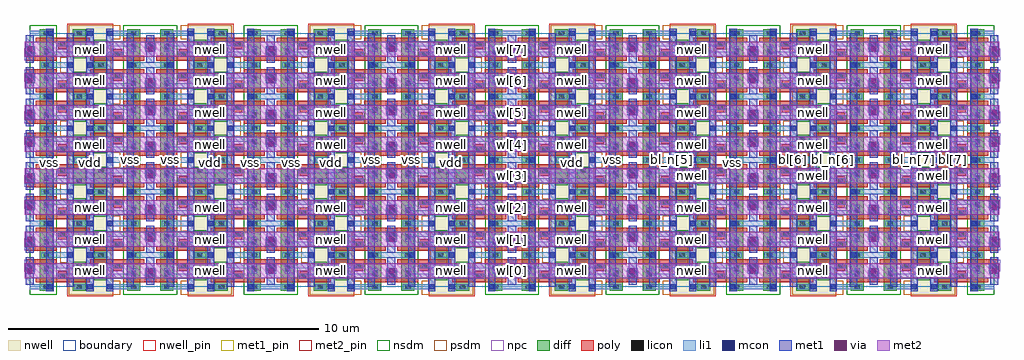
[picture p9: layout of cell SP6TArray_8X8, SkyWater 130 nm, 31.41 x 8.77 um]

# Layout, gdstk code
from math import pi, radians
import gdstk
lib = gdstk.Library(unit=1e-6, precision=1e-09)
def R(c, l, rs):  # rectangles x0, y0, x1, y1
    for r in rs: c.add(gdstk.rectangle(r[:2], r[2:], *l))
def A(c, l, x, y, w, h, nx, ny, dx, dy):  # array of equal rectangles
    R(c, l, [(x+i*dx, y+j*dy, x+i*dx+w, y+j*dy+h) for i in range(nx) for j in range(ny)])
def P(c, l, *ps):  # polygons
    for p in ps: c.add(gdstk.Polygon(p, *l))
nwell_pin = (64, 16)
nwell = (64, 20)
diff = (65, 20)
poly = (66, 20)
licon = (66, 44)
li1 = (67, 20)
mcon = (67, 44)
met1_pin = (68, 16)
met1 = (68, 20)
via = (68, 44)
met2_pin = (69, 16)
met2 = (69, 20)
nsdm = (93, 44)
psdm = (94, 20)
npc = (95, 20)
boundary = (235, 4)

sp6tcell = lib.new_cell('SP6TCell')
R(sp6tcell, nwell_pin, [(1.2,-0.305,2.68,1.325)])
R(sp6tcell, nwell, [(1.2,-0.305,2.68,1.325)])
R(sp6tcell, diff, [(0.32,-0.125,0.74,1.145), (2.08,-0.125,2.5,0.805), (3.14,-0.125,3.56,1.145), (1.38,0.215,1.8,1.145)])
P(sp6tcell, poly, [(3.745,0.515),(3.745,0.73),(3.01,0.73),(3.01,0.88),(4.015,0.88),(4.015,0.515)],
  [(1.95,0.14),(1.95,0.29),(2.685,0.29),(2.685,0.505),(2.955,0.505),(2.955,0.29),(3.69,0.29),(3.69,0.14)],
  [(0.925,0.515),(0.925,0.73),(0.19,0.73),(0.19,0.88),(1.93,0.88),(1.93,0.73),(1.195,0.73),(1.195,0.515)],
  [(-0.135,0.14),(-0.135,0.505),(0.135,0.505),(0.135,0.29),(0.87,0.29),(0.87,0.14)])
R(sp6tcell, licon, [(0.445,-0.085,0.615,0.085), (2.205,-0.085,2.375,0.085), (3.265,-0.085,3.435,0.085), (-0.085,0.255,0.085,0.425), (1.505,0.255,1.675,0.425), (2.735,0.255,2.905,0.425), (0.445,0.345,0.615,0.515), (3.265,0.505,3.435,0.675), (0.975,0.595,1.145,0.765), (2.205,0.595,2.375,0.765), (3.795,0.595,3.965,0.765), (0.445,0.935,0.615,1.105), (1.505,0.935,1.675,1.105), (3.265,0.935,3.435,1.105)])
R(sp6tcell, li1, [(0.365,-0.085,1.385,0.085), (1.855,-0.085,2.455,0.085), (3.145,-0.085,3.88,0.085), (-0.165,0.255,0.165,0.595), (3.715,0.425,4.045,0.765), (0,0.935,0.735,1.105), (1.425,0.935,2.025,1.105), (2.495,0.935,3.515,1.105)])
P(sp6tcell, li1, [(3.265,0.425),(3.265,0.595),(0.895,0.595),(0.895,0.765),(3.435,0.765),(3.435,0.425)],
  [(0.445,0.255),(0.445,0.595),(0.615,0.595),(0.615,0.425),(2.985,0.425),(2.985,0.255)])
R(sp6tcell, mcon, [(1.215,-0.085,1.385,0.085), (1.855,-0.085,2.025,0.085), (3.145,-0.085,3.315,0.085), (-0.085,0.425,0.085,0.595), (3.795,0.425,3.965,0.595), (0.565,0.935,0.735,1.105), (1.855,0.935,2.025,1.105), (2.495,0.935,2.665,1.105)])
R(sp6tcell, met1_pin, [(1.185,-0.145,1.415,1.02), (1.825,-0.145,2.055,1.165), (3.115,-0.145,3.345,1.02), (0.535,0,0.765,1.165), (2.465,0,2.695,1.165)])
R(sp6tcell, met1, [(1.185,-0.145,1.415,1.02), (1.825,-0.145,2.055,1.165), (3.115,-0.145,3.345,1.02), (0.535,0,0.765,1.165), (2.465,0,2.695,1.165), (-0.13,0.07,0.13,0.95), (3.75,0.07,4.01,0.95)])
R(sp6tcell, via, [(-0.075,0.435,0.075,0.585), (3.805,0.435,3.955,0.585)])
R(sp6tcell, met2_pin, [(-0.16,0.27,4.04,0.75)])
R(sp6tcell, met2, [(-0.16,0.27,4.04,0.75)])
R(sp6tcell, nsdm, [(0,-0.25,0.865,1.27), (3.015,-0.25,3.88,1.27)])
P(sp6tcell, psdm, [(0.975,-0.25),(0.975,0.195),(1.255,0.195),(1.255,1.27),(2.905,1.27),(2.905,0.825),(2.625,0.825),(2.625,-0.25)])
R(sp6tcell, npc, [(-0.185,0.155,0.185,0.525), (2.635,0.155,3.005,0.525), (0.875,0.495,1.245,0.865), (3.695,0.495,4.065,0.865)])
R(sp6tcell, boundary, [(0,0,3.88,1.02)])
sp6tcell.add(gdstk.Label('wl', (1.94,0.51), layer=69, texttype=16))
sp6tcell.add(gdstk.Label('bl_n', (2.58,0.583), layer=68, texttype=16))
sp6tcell.add(gdstk.Label('vdd', (1.94,0.51), layer=68, texttype=16))
sp6tcell.add(gdstk.Label('vss', (3.23,0.438), layer=68, texttype=16))
sp6tcell.add(gdstk.Label('vss', (0.65,0.583), layer=68, texttype=16))
sp6tcell.add(gdstk.Label('bl', (1.3,0.438), layer=68, texttype=16))
sp6tcell.add(gdstk.Label('nwell', (1.94,0.51), layer=64, texttype=16))

sp6tarray_2x1 = lib.new_cell('SP6TArray_2X1')
R(sp6tarray_2x1, nwell_pin, [(1.2,-0.305,2.68,2.345)])
R(sp6tarray_2x1, nwell, [(1.2,-0.305,2.68,2.345)])
R(sp6tarray_2x1, met1_pin, [(0.535,-0.145,0.765,2.04), (1.825,-0.145,2.055,2.04), (2.465,-0.145,2.695,2.185), (1.185,0,1.415,2.04), (3.115,0,3.345,2.04)])
R(sp6tarray_2x1, met1, [(0.535,-0.145,0.765,2.04), (1.825,-0.145,2.055,2.04), (2.465,-0.145,2.695,2.185), (1.185,0,1.415,2.04), (3.115,0,3.345,2.04)])
R(sp6tarray_2x1, met2_pin, [(-0.16,0.27,4.04,0.75), (-0.16,1.29,4.04,1.77)])
R(sp6tarray_2x1, met2, [(-0.16,0.27,4.04,0.75), (-0.16,1.29,4.04,1.77)])
R(sp6tarray_2x1, boundary, [(0,0,3.88,2.04)])
sp6tarray_2x1.add(gdstk.Reference(sp6tcell, (0,1.02)))
sp6tarray_2x1.add(gdstk.Reference(sp6tcell, (0,1.02), x_reflection=True))
sp6tarray_2x1.add(gdstk.Label('wl[1]', (1.94,1.53), layer=69, texttype=16))
sp6tarray_2x1.add(gdstk.Label('wl[0]', (1.94,0.51), layer=69, texttype=16))
sp6tarray_2x1.add(gdstk.Label('bl_n[0]', (2.58,1.02), layer=68, texttype=16))
sp6tarray_2x1.add(gdstk.Label('bl[0]', (1.3,1.02), layer=68, texttype=16))
sp6tarray_2x1.add(gdstk.Label('vdd', (1.94,0.948), layer=68, texttype=16))
sp6tarray_2x1.add(gdstk.Label('vss', (0.65,0.948), layer=68, texttype=16))
sp6tarray_2x1.add(gdstk.Label('vss', (3.23,1.02), layer=68, texttype=16))
sp6tarray_2x1.add(gdstk.Label('nwell', (1.94,0.51), layer=64, texttype=16))
sp6tarray_2x1.add(gdstk.Label('nwell', (1.94,1.53), layer=64, texttype=16))

sp6tarray_2x2 = lib.new_cell('SP6TArray_2X2')
R(sp6tarray_2x2, nwell_pin, [(1.2,-0.305,2.68,2.345), (5.08,-0.305,6.56,2.345)])
R(sp6tarray_2x2, nwell, [(1.2,-0.305,2.68,2.345), (5.08,-0.305,6.56,2.345)])
R(sp6tarray_2x2, met1_pin, [(0.535,-0.145,0.765,2.04), (1.825,-0.145,2.055,2.04), (2.465,-0.145,2.695,2.185), (5.065,-0.145,5.295,2.185), (5.705,-0.145,5.935,2.04), (6.995,-0.145,7.225,2.04), (1.185,0,1.415,2.04), (3.115,0,3.345,2.04), (4.415,0,4.645,2.04), (6.345,0,6.575,2.04)])
R(sp6tarray_2x2, met1, [(0.535,-0.145,0.765,2.04), (1.825,-0.145,2.055,2.04), (2.465,-0.145,2.695,2.185), (5.065,-0.145,5.295,2.185), (5.705,-0.145,5.935,2.04), (6.995,-0.145,7.225,2.04), (1.185,0,1.415,2.04), (3.115,0,3.345,2.04), (4.415,0,4.645,2.04), (6.345,0,6.575,2.04)])
R(sp6tarray_2x2, met2_pin, [(-0.16,0.27,7.92,0.75), (-0.16,1.29,7.92,1.77)])
R(sp6tarray_2x2, met2, [(-0.16,0.27,7.92,0.75), (-0.16,1.29,7.92,1.77)])
R(sp6tarray_2x2, boundary, [(0,0,7.76,2.04)])
sp6tarray_2x2.add(gdstk.Reference(sp6tarray_2x1, (7.76,0), rotation=pi, x_reflection=True))
sp6tarray_2x2.add(gdstk.Reference(sp6tarray_2x1, (0,0)))
sp6tarray_2x2.add(gdstk.Label('wl[1]', (3.88,1.53), layer=69, texttype=16))
sp6tarray_2x2.add(gdstk.Label('wl[0]', (3.88,0.51), layer=69, texttype=16))
sp6tarray_2x2.add(gdstk.Label('bl_n[1]', (5.18,1.02), layer=68, texttype=16))
sp6tarray_2x2.add(gdstk.Label('bl[1]', (6.46,1.02), layer=68, texttype=16))
sp6tarray_2x2.add(gdstk.Label('bl_n[0]', (2.58,1.02), layer=68, texttype=16))
sp6tarray_2x2.add(gdstk.Label('bl[0]', (1.3,1.02), layer=68, texttype=16))
sp6tarray_2x2.add(gdstk.Label('vdd', (1.94,0.948), layer=68, texttype=16))
sp6tarray_2x2.add(gdstk.Label('vdd', (5.82,0.948), layer=68, texttype=16))
sp6tarray_2x2.add(gdstk.Label('vss', (0.65,0.948), layer=68, texttype=16))
sp6tarray_2x2.add(gdstk.Label('vss', (7.11,0.948), layer=68, texttype=16))
sp6tarray_2x2.add(gdstk.Label('vss', (3.23,1.02), layer=68, texttype=16))
sp6tarray_2x2.add(gdstk.Label('vss', (4.53,1.02), layer=68, texttype=16))
sp6tarray_2x2.add(gdstk.Label('nwell', (1.94,0.51), layer=64, texttype=16))
sp6tarray_2x2.add(gdstk.Label('nwell', (5.82,0.51), layer=64, texttype=16))
sp6tarray_2x2.add(gdstk.Label('nwell', (1.94,1.53), layer=64, texttype=16))
sp6tarray_2x2.add(gdstk.Label('nwell', (5.82,1.53), layer=64, texttype=16))

sp6tarray_4x2 = lib.new_cell('SP6TArray_4X2')
R(sp6tarray_4x2, nwell_pin, [(1.2,-0.305,2.68,4.385), (5.08,-0.305,6.56,4.385)])
R(sp6tarray_4x2, nwell, [(1.2,-0.305,2.68,4.385), (5.08,-0.305,6.56,4.385)])
R(sp6tarray_4x2, met1_pin, [(0.535,-0.145,0.765,4.08), (1.825,-0.145,2.055,4.08), (2.465,-0.145,2.695,4.225), (5.065,-0.145,5.295,4.225), (5.705,-0.145,5.935,4.08), (6.995,-0.145,7.225,4.08), (1.185,0,1.415,4.08), (3.115,0,3.345,4.08), (4.415,0,4.645,4.08), (6.345,0,6.575,4.08)])
R(sp6tarray_4x2, met1, [(0.535,-0.145,0.765,4.08), (1.825,-0.145,2.055,4.08), (2.465,-0.145,2.695,4.225), (5.065,-0.145,5.295,4.225), (5.705,-0.145,5.935,4.08), (6.995,-0.145,7.225,4.08), (1.185,0,1.415,4.08), (3.115,0,3.345,4.08), (4.415,0,4.645,4.08), (6.345,0,6.575,4.08)])
A(sp6tarray_4x2, met2_pin, -0.16, 0.27, 8.08, 0.48, 1, 4, 0, 1.02)
A(sp6tarray_4x2, met2, -0.16, 0.27, 8.08, 0.48, 1, 4, 0, 1.02)
R(sp6tarray_4x2, boundary, [(0,0,7.76,4.08)])
sp6tarray_4x2.add(gdstk.Reference(sp6tarray_2x2, (0,0)))
sp6tarray_4x2.add(gdstk.Reference(sp6tarray_2x2, (0,2.04)))
sp6tarray_4x2.add(gdstk.Label('wl[3]', (3.88,3.57), layer=69, texttype=16))
sp6tarray_4x2.add(gdstk.Label('wl[2]', (3.88,2.55), layer=69, texttype=16))
sp6tarray_4x2.add(gdstk.Label('wl[1]', (3.88,1.53), layer=69, texttype=16))
sp6tarray_4x2.add(gdstk.Label('wl[0]', (3.88,0.51), layer=69, texttype=16))
sp6tarray_4x2.add(gdstk.Label('bl_n[1]', (5.18,2.04), layer=68, texttype=16))
sp6tarray_4x2.add(gdstk.Label('bl[1]', (6.46,2.04), layer=68, texttype=16))
sp6tarray_4x2.add(gdstk.Label('bl_n[0]', (2.58,2.04), layer=68, texttype=16))
sp6tarray_4x2.add(gdstk.Label('bl[0]', (1.3,2.04), layer=68, texttype=16))
sp6tarray_4x2.add(gdstk.Label('vdd', (1.94,1.968), layer=68, texttype=16))
sp6tarray_4x2.add(gdstk.Label('vdd', (1.94,1.968), layer=68, texttype=16))
sp6tarray_4x2.add(gdstk.Label('vdd', (5.82,1.968), layer=68, texttype=16))
sp6tarray_4x2.add(gdstk.Label('vdd', (5.82,1.968), layer=68, texttype=16))
sp6tarray_4x2.add(gdstk.Label('vss', (0.65,1.968), layer=68, texttype=16))
sp6tarray_4x2.add(gdstk.Label('vss', (0.65,1.968), layer=68, texttype=16))
sp6tarray_4x2.add(gdstk.Label('vss', (7.11,1.968), layer=68, texttype=16))
sp6tarray_4x2.add(gdstk.Label('vss', (7.11,1.968), layer=68, texttype=16))
sp6tarray_4x2.add(gdstk.Label('vss', (3.23,2.04), layer=68, texttype=16))
sp6tarray_4x2.add(gdstk.Label('vss', (4.53,2.04), layer=68, texttype=16))
sp6tarray_4x2.add(gdstk.Label('nwell', (1.94,0.51), layer=64, texttype=16))
sp6tarray_4x2.add(gdstk.Label('nwell', (5.82,0.51), layer=64, texttype=16))
sp6tarray_4x2.add(gdstk.Label('nwell', (1.94,1.53), layer=64, texttype=16))
sp6tarray_4x2.add(gdstk.Label('nwell', (5.82,1.53), layer=64, texttype=16))
sp6tarray_4x2.add(gdstk.Label('nwell', (1.94,2.55), layer=64, texttype=16))
sp6tarray_4x2.add(gdstk.Label('nwell', (5.82,2.55), layer=64, texttype=16))
sp6tarray_4x2.add(gdstk.Label('nwell', (1.94,3.57), layer=64, texttype=16))
sp6tarray_4x2.add(gdstk.Label('nwell', (5.82,3.57), layer=64, texttype=16))

sp6tarray_4x4 = lib.new_cell('SP6TArray_4X4')
A(sp6tarray_4x4, nwell_pin, 1.2, -0.305, 1.48, 4.69, 4, 1, 3.88, 0)
A(sp6tarray_4x4, nwell, 1.2, -0.305, 1.48, 4.69, 4, 1, 3.88, 0)
R(sp6tarray_4x4, met1_pin, [(0.535,-0.145,0.765,4.08), (1.825,-0.145,2.055,4.08), (2.465,-0.145,2.695,4.225), (5.065,-0.145,5.295,4.225), (5.705,-0.145,5.935,4.08), (6.995,-0.145,7.225,4.08), (8.295,-0.145,8.525,4.08), (9.585,-0.145,9.815,4.08), (10.225,-0.145,10.455,4.225), (12.825,-0.145,13.055,4.225), (13.465,-0.145,13.695,4.08), (14.755,-0.145,14.985,4.08), (1.185,0,1.415,4.08), (3.115,0,3.345,4.08), (4.415,0,4.645,4.08), (6.345,0,6.575,4.08), (8.945,0,9.175,4.08), (10.875,0,11.105,4.08), (12.175,0,12.405,4.08), (14.105,0,14.335,4.08)])
R(sp6tarray_4x4, met1, [(0.535,-0.145,0.765,4.08), (1.825,-0.145,2.055,4.08), (2.465,-0.145,2.695,4.225), (5.065,-0.145,5.295,4.225), (5.705,-0.145,5.935,4.08), (6.995,-0.145,7.225,4.08), (8.295,-0.145,8.525,4.08), (9.585,-0.145,9.815,4.08), (10.225,-0.145,10.455,4.225), (12.825,-0.145,13.055,4.225), (13.465,-0.145,13.695,4.08), (14.755,-0.145,14.985,4.08), (1.185,0,1.415,4.08), (3.115,0,3.345,4.08), (4.415,0,4.645,4.08), (6.345,0,6.575,4.08), (8.945,0,9.175,4.08), (10.875,0,11.105,4.08), (12.175,0,12.405,4.08), (14.105,0,14.335,4.08)])
A(sp6tarray_4x4, met2_pin, -0.16, 0.27, 15.84, 0.48, 1, 4, 0, 1.02)
A(sp6tarray_4x4, met2, -0.16, 0.27, 15.84, 0.48, 1, 4, 0, 1.02)
R(sp6tarray_4x4, boundary, [(0,0,15.52,4.08)])
sp6tarray_4x4.add(gdstk.Reference(sp6tarray_4x2, (0,0)))
sp6tarray_4x4.add(gdstk.Reference(sp6tarray_4x2, (7.76,0)))
sp6tarray_4x4.add(gdstk.Label('wl[3]', (7.76,3.57), layer=69, texttype=16))
sp6tarray_4x4.add(gdstk.Label('wl[2]', (7.76,2.55), layer=69, texttype=16))
sp6tarray_4x4.add(gdstk.Label('wl[1]', (7.76,1.53), layer=69, texttype=16))
sp6tarray_4x4.add(gdstk.Label('wl[0]', (7.76,0.51), layer=69, texttype=16))
sp6tarray_4x4.add(gdstk.Label('bl_n[3]', (12.94,2.04), layer=68, texttype=16))
sp6tarray_4x4.add(gdstk.Label('bl[3]', (14.22,2.04), layer=68, texttype=16))
sp6tarray_4x4.add(gdstk.Label('bl_n[2]', (10.34,2.04), layer=68, texttype=16))
sp6tarray_4x4.add(gdstk.Label('bl[2]', (9.06,2.04), layer=68, texttype=16))
sp6tarray_4x4.add(gdstk.Label('bl_n[1]', (5.18,2.04), layer=68, texttype=16))
sp6tarray_4x4.add(gdstk.Label('bl[1]', (6.46,2.04), layer=68, texttype=16))
sp6tarray_4x4.add(gdstk.Label('bl_n[0]', (2.58,2.04), layer=68, texttype=16))
sp6tarray_4x4.add(gdstk.Label('bl[0]', (1.3,2.04), layer=68, texttype=16))
sp6tarray_4x4.add(gdstk.Label('vdd', (1.94,1.968), layer=68, texttype=16))
sp6tarray_4x4.add(gdstk.Label('vdd', (5.82,1.968), layer=68, texttype=16))
sp6tarray_4x4.add(gdstk.Label('vdd', (9.7,1.968), layer=68, texttype=16))
sp6tarray_4x4.add(gdstk.Label('vdd', (13.58,1.968), layer=68, texttype=16))
sp6tarray_4x4.add(gdstk.Label('vss', (0.65,1.968), layer=68, texttype=16))
sp6tarray_4x4.add(gdstk.Label('vss', (7.11,1.968), layer=68, texttype=16))
sp6tarray_4x4.add(gdstk.Label('vss', (8.41,1.968), layer=68, texttype=16))
sp6tarray_4x4.add(gdstk.Label('vss', (14.87,1.968), layer=68, texttype=16))
sp6tarray_4x4.add(gdstk.Label('vss', (3.23,2.04), layer=68, texttype=16))
sp6tarray_4x4.add(gdstk.Label('vss', (4.53,2.04), layer=68, texttype=16))
sp6tarray_4x4.add(gdstk.Label('vss', (10.99,2.04), layer=68, texttype=16))
sp6tarray_4x4.add(gdstk.Label('vss', (12.29,2.04), layer=68, texttype=16))
sp6tarray_4x4.add(gdstk.Label('nwell', (1.94,0.51), layer=64, texttype=16))
sp6tarray_4x4.add(gdstk.Label('nwell', (5.82,0.51), layer=64, texttype=16))
sp6tarray_4x4.add(gdstk.Label('nwell', (9.7,0.51), layer=64, texttype=16))
sp6tarray_4x4.add(gdstk.Label('nwell', (13.58,0.51), layer=64, texttype=16))
sp6tarray_4x4.add(gdstk.Label('nwell', (1.94,1.53), layer=64, texttype=16))
sp6tarray_4x4.add(gdstk.Label('nwell', (5.82,1.53), layer=64, texttype=16))
sp6tarray_4x4.add(gdstk.Label('nwell', (9.7,1.53), layer=64, texttype=16))
sp6tarray_4x4.add(gdstk.Label('nwell', (13.58,1.53), layer=64, texttype=16))
sp6tarray_4x4.add(gdstk.Label('nwell', (1.94,2.55), layer=64, texttype=16))
sp6tarray_4x4.add(gdstk.Label('nwell', (5.82,2.55), layer=64, texttype=16))
sp6tarray_4x4.add(gdstk.Label('nwell', (9.7,2.55), layer=64, texttype=16))
sp6tarray_4x4.add(gdstk.Label('nwell', (13.58,2.55), layer=64, texttype=16))
sp6tarray_4x4.add(gdstk.Label('nwell', (1.94,3.57), layer=64, texttype=16))
sp6tarray_4x4.add(gdstk.Label('nwell', (5.82,3.57), layer=64, texttype=16))
sp6tarray_4x4.add(gdstk.Label('nwell', (9.7,3.57), layer=64, texttype=16))
sp6tarray_4x4.add(gdstk.Label('nwell', (13.58,3.57), layer=64, texttype=16))

sp6tarray_8x4 = lib.new_cell('SP6TArray_8X4')
A(sp6tarray_8x4, nwell_pin, 1.2, -0.305, 1.48, 8.77, 4, 1, 3.88, 0)
A(sp6tarray_8x4, nwell, 1.2, -0.305, 1.48, 8.77, 4, 1, 3.88, 0)
R(sp6tarray_8x4, met1_pin, [(0.535,-0.145,0.765,8.16), (1.825,-0.145,2.055,8.16), (2.465,-0.145,2.695,8.305), (5.065,-0.145,5.295,8.305), (5.705,-0.145,5.935,8.16), (6.995,-0.145,7.225,8.16), (8.295,-0.145,8.525,8.16), (9.585,-0.145,9.815,8.16), (10.225,-0.145,10.455,8.305), (12.825,-0.145,13.055,8.305), (13.465,-0.145,13.695,8.16), (14.755,-0.145,14.985,8.16), (1.185,0,1.415,8.16), (3.115,0,3.345,8.16), (4.415,0,4.645,8.16), (6.345,0,6.575,8.16), (8.945,0,9.175,8.16), (10.875,0,11.105,8.16), (12.175,0,12.405,8.16), (14.105,0,14.335,8.16)])
R(sp6tarray_8x4, met1, [(0.535,-0.145,0.765,8.16), (1.825,-0.145,2.055,8.16), (2.465,-0.145,2.695,8.305), (5.065,-0.145,5.295,8.305), (5.705,-0.145,5.935,8.16), (6.995,-0.145,7.225,8.16), (8.295,-0.145,8.525,8.16), (9.585,-0.145,9.815,8.16), (10.225,-0.145,10.455,8.305), (12.825,-0.145,13.055,8.305), (13.465,-0.145,13.695,8.16), (14.755,-0.145,14.985,8.16), (1.185,0,1.415,8.16), (3.115,0,3.345,8.16), (4.415,0,4.645,8.16), (6.345,0,6.575,8.16), (8.945,0,9.175,8.16), (10.875,0,11.105,8.16), (12.175,0,12.405,8.16), (14.105,0,14.335,8.16)])
A(sp6tarray_8x4, met2_pin, -0.16, 0.27, 15.84, 0.48, 1, 8, 0, 1.02)
A(sp6tarray_8x4, met2, -0.16, 0.27, 15.84, 0.48, 1, 8, 0, 1.02)
R(sp6tarray_8x4, boundary, [(0,0,15.52,8.16)])
sp6tarray_8x4.add(gdstk.Reference(sp6tarray_4x4, (0,0)))
sp6tarray_8x4.add(gdstk.Reference(sp6tarray_4x4, (0,4.08)))
sp6tarray_8x4.add(gdstk.Label('wl[5]', (7.76,5.61), layer=69, texttype=16))
sp6tarray_8x4.add(gdstk.Label('wl[4]', (7.76,4.59), layer=69, texttype=16))
sp6tarray_8x4.add(gdstk.Label('wl[3]', (7.76,3.57), layer=69, texttype=16))
sp6tarray_8x4.add(gdstk.Label('wl[6]', (7.76,6.63), layer=69, texttype=16))
sp6tarray_8x4.add(gdstk.Label('wl[2]', (7.76,2.55), layer=69, texttype=16))
sp6tarray_8x4.add(gdstk.Label('wl[7]', (7.76,7.65), layer=69, texttype=16))
sp6tarray_8x4.add(gdstk.Label('wl[1]', (7.76,1.53), layer=69, texttype=16))
sp6tarray_8x4.add(gdstk.Label('wl[0]', (7.76,0.51), layer=69, texttype=16))
sp6tarray_8x4.add(gdstk.Label('bl_n[3]', (12.94,4.08), layer=68, texttype=16))
sp6tarray_8x4.add(gdstk.Label('bl[3]', (14.22,4.08), layer=68, texttype=16))
sp6tarray_8x4.add(gdstk.Label('bl_n[2]', (10.34,4.08), layer=68, texttype=16))
sp6tarray_8x4.add(gdstk.Label('bl[2]', (9.06,4.08), layer=68, texttype=16))
sp6tarray_8x4.add(gdstk.Label('bl_n[1]', (5.18,4.08), layer=68, texttype=16))
sp6tarray_8x4.add(gdstk.Label('bl[1]', (6.46,4.08), layer=68, texttype=16))
sp6tarray_8x4.add(gdstk.Label('bl_n[0]', (2.58,4.08), layer=68, texttype=16))
sp6tarray_8x4.add(gdstk.Label('bl[0]', (1.3,4.08), layer=68, texttype=16))
sp6tarray_8x4.add(gdstk.Label('vdd', (1.94,4.008), layer=68, texttype=16))
sp6tarray_8x4.add(gdstk.Label('vdd', (5.82,4.008), layer=68, texttype=16))
sp6tarray_8x4.add(gdstk.Label('vdd', (9.7,4.008), layer=68, texttype=16))
sp6tarray_8x4.add(gdstk.Label('vdd', (13.58,4.008), layer=68, texttype=16))
sp6tarray_8x4.add(gdstk.Label('vss', (0.65,4.008), layer=68, texttype=16))
sp6tarray_8x4.add(gdstk.Label('vss', (7.11,4.008), layer=68, texttype=16))
sp6tarray_8x4.add(gdstk.Label('vss', (8.41,4.008), layer=68, texttype=16))
sp6tarray_8x4.add(gdstk.Label('vss', (14.87,4.008), layer=68, texttype=16))
sp6tarray_8x4.add(gdstk.Label('vss', (3.23,4.08), layer=68, texttype=16))
sp6tarray_8x4.add(gdstk.Label('vss', (4.53,4.08), layer=68, texttype=16))
sp6tarray_8x4.add(gdstk.Label('vss', (10.99,4.08), layer=68, texttype=16))
sp6tarray_8x4.add(gdstk.Label('vss', (12.29,4.08), layer=68, texttype=16))
sp6tarray_8x4.add(gdstk.Label('nwell', (1.94,0.51), layer=64, texttype=16))
sp6tarray_8x4.add(gdstk.Label('nwell', (5.82,0.51), layer=64, texttype=16))
sp6tarray_8x4.add(gdstk.Label('nwell', (9.7,0.51), layer=64, texttype=16))
sp6tarray_8x4.add(gdstk.Label('nwell', (13.58,0.51), layer=64, texttype=16))
sp6tarray_8x4.add(gdstk.Label('nwell', (1.94,1.53), layer=64, texttype=16))
sp6tarray_8x4.add(gdstk.Label('nwell', (5.82,1.53), layer=64, texttype=16))
sp6tarray_8x4.add(gdstk.Label('nwell', (9.7,1.53), layer=64, texttype=16))
sp6tarray_8x4.add(gdstk.Label('nwell', (13.58,1.53), layer=64, texttype=16))
sp6tarray_8x4.add(gdstk.Label('nwell', (1.94,2.55), layer=64, texttype=16))
sp6tarray_8x4.add(gdstk.Label('nwell', (5.82,2.55), layer=64, texttype=16))
sp6tarray_8x4.add(gdstk.Label('nwell', (9.7,2.55), layer=64, texttype=16))
sp6tarray_8x4.add(gdstk.Label('nwell', (13.58,2.55), layer=64, texttype=16))
sp6tarray_8x4.add(gdstk.Label('nwell', (1.94,3.57), layer=64, texttype=16))
sp6tarray_8x4.add(gdstk.Label('nwell', (5.82,3.57), layer=64, texttype=16))
sp6tarray_8x4.add(gdstk.Label('nwell', (9.7,3.57), layer=64, texttype=16))
sp6tarray_8x4.add(gdstk.Label('nwell', (13.58,3.57), layer=64, texttype=16))
sp6tarray_8x4.add(gdstk.Label('nwell', (1.94,4.59), layer=64, texttype=16))
sp6tarray_8x4.add(gdstk.Label('nwell', (5.82,4.59), layer=64, texttype=16))
sp6tarray_8x4.add(gdstk.Label('nwell', (9.7,4.59), layer=64, texttype=16))
sp6tarray_8x4.add(gdstk.Label('nwell', (13.58,4.59), layer=64, texttype=16))
sp6tarray_8x4.add(gdstk.Label('nwell', (1.94,5.61), layer=64, texttype=16))
sp6tarray_8x4.add(gdstk.Label('nwell', (5.82,5.61), layer=64, texttype=16))
sp6tarray_8x4.add(gdstk.Label('nwell', (9.7,5.61), layer=64, texttype=16))
sp6tarray_8x4.add(gdstk.Label('nwell', (13.58,5.61), layer=64, texttype=16))
sp6tarray_8x4.add(gdstk.Label('nwell', (1.94,6.63), layer=64, texttype=16))
sp6tarray_8x4.add(gdstk.Label('nwell', (5.82,6.63), layer=64, texttype=16))
sp6tarray_8x4.add(gdstk.Label('nwell', (9.7,6.63), layer=64, texttype=16))
sp6tarray_8x4.add(gdstk.Label('nwell', (13.58,6.63), layer=64, texttype=16))
sp6tarray_8x4.add(gdstk.Label('nwell', (1.94,7.65), layer=64, texttype=16))
sp6tarray_8x4.add(gdstk.Label('nwell', (5.82,7.65), layer=64, texttype=16))
sp6tarray_8x4.add(gdstk.Label('nwell', (9.7,7.65), layer=64, texttype=16))
sp6tarray_8x4.add(gdstk.Label('nwell', (13.58,7.65), layer=64, texttype=16))

sp6tarray_8x8 = lib.new_cell('SP6TArray_8X8')
A(sp6tarray_8x8, nwell_pin, 1.2, -0.305, 1.48, 8.77, 8, 1, 3.88, 0)
A(sp6tarray_8x8, nwell, 1.2, -0.305, 1.48, 8.77, 8, 1, 3.88, 0)
R(sp6tarray_8x8, met1_pin, [(0.535,-0.145,0.765,8.16), (1.825,-0.145,2.055,8.16), (2.465,-0.145,2.695,8.305), (5.065,-0.145,5.295,8.305), (5.705,-0.145,5.935,8.16), (6.995,-0.145,7.225,8.16), (8.295,-0.145,8.525,8.16), (9.585,-0.145,9.815,8.16), (10.225,-0.145,10.455,8.305), (12.825,-0.145,13.055,8.305), (13.465,-0.145,13.695,8.16), (14.755,-0.145,14.985,8.16), (16.055,-0.145,16.285,8.16), (17.345,-0.145,17.575,8.16), (17.985,-0.145,18.215,8.305), (20.585,-0.145,20.815,8.305), (21.225,-0.145,21.455,8.16), (22.515,-0.145,22.745,8.16), (23.815,-0.145,24.045,8.16), (25.105,-0.145,25.335,8.16), (25.745,-0.145,25.975,8.305), (28.345,-0.145,28.575,8.305), (28.985,-0.145,29.215,8.16), (30.275,-0.145,30.505,8.16), (1.185,0,1.415,8.16), (3.115,0,3.345,8.16), (4.415,0,4.645,8.16), (6.345,0,6.575,8.16), (8.945,0,9.175,8.16), (10.875,0,11.105,8.16), (12.175,0,12.405,8.16), (14.105,0,14.335,8.16), (16.705,0,16.935,8.16), (18.635,0,18.865,8.16), (19.935,0,20.165,8.16), (21.865,0,22.095,8.16), (24.465,0,24.695,8.16), (26.395,0,26.625,8.16), (27.695,0,27.925,8.16), (29.625,0,29.855,8.16)])
R(sp6tarray_8x8, met1, [(0.535,-0.145,0.765,8.16), (1.825,-0.145,2.055,8.16), (2.465,-0.145,2.695,8.305), (5.065,-0.145,5.295,8.305), (5.705,-0.145,5.935,8.16), (6.995,-0.145,7.225,8.16), (8.295,-0.145,8.525,8.16), (9.585,-0.145,9.815,8.16), (10.225,-0.145,10.455,8.305), (12.825,-0.145,13.055,8.305), (13.465,-0.145,13.695,8.16), (14.755,-0.145,14.985,8.16), (16.055,-0.145,16.285,8.16), (17.345,-0.145,17.575,8.16), (17.985,-0.145,18.215,8.305), (20.585,-0.145,20.815,8.305), (21.225,-0.145,21.455,8.16), (22.515,-0.145,22.745,8.16), (23.815,-0.145,24.045,8.16), (25.105,-0.145,25.335,8.16), (25.745,-0.145,25.975,8.305), (28.345,-0.145,28.575,8.305), (28.985,-0.145,29.215,8.16), (30.275,-0.145,30.505,8.16), (1.185,0,1.415,8.16), (3.115,0,3.345,8.16), (4.415,0,4.645,8.16), (6.345,0,6.575,8.16), (8.945,0,9.175,8.16), (10.875,0,11.105,8.16), (12.175,0,12.405,8.16), (14.105,0,14.335,8.16), (16.705,0,16.935,8.16), (18.635,0,18.865,8.16), (19.935,0,20.165,8.16), (21.865,0,22.095,8.16), (24.465,0,24.695,8.16), (26.395,0,26.625,8.16), (27.695,0,27.925,8.16), (29.625,0,29.855,8.16)])
A(sp6tarray_8x8, met2_pin, -0.16, 0.27, 31.36, 0.48, 1, 8, 0, 1.02)
A(sp6tarray_8x8, met2, -0.16, 0.27, 31.36, 0.48, 1, 8, 0, 1.02)
R(sp6tarray_8x8, boundary, [(0,0,31.04,8.16)])
sp6tarray_8x8.add(gdstk.Reference(sp6tarray_8x4, (0,0)))
sp6tarray_8x8.add(gdstk.Reference(sp6tarray_8x4, (15.52,0)))
sp6tarray_8x8.add(gdstk.Label('wl[5]', (15.52,5.61), layer=69, texttype=16))
sp6tarray_8x8.add(gdstk.Label('wl[4]', (15.52,4.59), layer=69, texttype=16))
sp6tarray_8x8.add(gdstk.Label('wl[3]', (15.52,3.57), layer=69, texttype=16))
sp6tarray_8x8.add(gdstk.Label('wl[6]', (15.52,6.63), layer=69, texttype=16))
sp6tarray_8x8.add(gdstk.Label('wl[2]', (15.52,2.55), layer=69, texttype=16))
sp6tarray_8x8.add(gdstk.Label('wl[7]', (15.52,7.65), layer=69, texttype=16))
sp6tarray_8x8.add(gdstk.Label('wl[1]', (15.52,1.53), layer=69, texttype=16))
sp6tarray_8x8.add(gdstk.Label('wl[0]', (15.52,0.51), layer=69, texttype=16))
sp6tarray_8x8.add(gdstk.Label('bl_n[7]', (28.46,4.08), layer=68, texttype=16))
sp6tarray_8x8.add(gdstk.Label('bl_n[6]', (25.86,4.08), layer=68, texttype=16))
sp6tarray_8x8.add(gdstk.Label('bl[6]', (24.58,4.08), layer=68, texttype=16))
sp6tarray_8x8.add(gdstk.Label('bl_n[5]', (20.7,4.08), layer=68, texttype=16))
sp6tarray_8x8.add(gdstk.Label('bl[7]', (29.74,4.08), layer=68, texttype=16))
sp6tarray_8x8.add(gdstk.Label('vss', (0.65,4.008), layer=68, texttype=16))
sp6tarray_8x8.add(gdstk.Label('vss', (8.41,4.008), layer=68, texttype=16))
sp6tarray_8x8.add(gdstk.Label('vss', (16.17,4.008), layer=68, texttype=16))
sp6tarray_8x8.add(gdstk.Label('vss', (23.93,4.008), layer=68, texttype=16))
sp6tarray_8x8.add(gdstk.Label('vss', (7.11,4.008), layer=68, texttype=16))
sp6tarray_8x8.add(gdstk.Label('vss', (14.87,4.008), layer=68, texttype=16))
sp6tarray_8x8.add(gdstk.Label('vss', (22.63,4.008), layer=68, texttype=16))
sp6tarray_8x8.add(gdstk.Label('vss', (30.39,4.008), layer=68, texttype=16))
sp6tarray_8x8.add(gdstk.Label('vss', (3.23,4.08), layer=68, texttype=16))
sp6tarray_8x8.add(gdstk.Label('vss', (10.99,4.08), layer=68, texttype=16))
sp6tarray_8x8.add(gdstk.Label('vss', (18.75,4.08), layer=68, texttype=16))
sp6tarray_8x8.add(gdstk.Label('vss', (26.51,4.08), layer=68, texttype=16))
sp6tarray_8x8.add(gdstk.Label('vss', (4.53,4.08), layer=68, texttype=16))
sp6tarray_8x8.add(gdstk.Label('vss', (12.29,4.08), layer=68, texttype=16))
sp6tarray_8x8.add(gdstk.Label('vss', (20.05,4.08), layer=68, texttype=16))
sp6tarray_8x8.add(gdstk.Label('vss', (27.81,4.08), layer=68, texttype=16))
sp6tarray_8x8.add(gdstk.Label('vdd', (1.94,4.008), layer=68, texttype=16))
sp6tarray_8x8.add(gdstk.Label('vdd', (5.82,4.008), layer=68, texttype=16))
sp6tarray_8x8.add(gdstk.Label('vdd', (9.7,4.008), layer=68, texttype=16))
sp6tarray_8x8.add(gdstk.Label('vdd', (13.58,4.008), layer=68, texttype=16))
sp6tarray_8x8.add(gdstk.Label('vdd', (17.46,4.008), layer=68, texttype=16))
sp6tarray_8x8.add(gdstk.Label('vdd', (21.34,4.008), layer=68, texttype=16))
sp6tarray_8x8.add(gdstk.Label('vdd', (25.22,4.008), layer=68, texttype=16))
sp6tarray_8x8.add(gdstk.Label('vdd', (29.1,4.008), layer=68, texttype=16))
sp6tarray_8x8.add(gdstk.Label('bl_n[4]', (18.1,4.08), layer=68, texttype=16))
sp6tarray_8x8.add(gdstk.Label('bl[0]', (1.3,4.08), layer=68, texttype=16))
sp6tarray_8x8.add(gdstk.Label('bl[5]', (21.98,4.08), layer=68, texttype=16))
sp6tarray_8x8.add(gdstk.Label('bl_n[1]', (5.18,4.08), layer=68, texttype=16))
sp6tarray_8x8.add(gdstk.Label('bl[2]', (9.06,4.08), layer=68, texttype=16))
sp6tarray_8x8.add(gdstk.Label('bl_n[2]', (10.34,4.08), layer=68, texttype=16))
sp6tarray_8x8.add(gdstk.Label('bl_n[0]', (2.58,4.08), layer=68, texttype=16))
sp6tarray_8x8.add(gdstk.Label('bl[3]', (14.22,4.08), layer=68, texttype=16))
sp6tarray_8x8.add(gdstk.Label('bl[1]', (6.46,4.08), layer=68, texttype=16))
sp6tarray_8x8.add(gdstk.Label('bl[4]', (16.82,4.08), layer=68, texttype=16))
sp6tarray_8x8.add(gdstk.Label('bl_n[3]', (12.94,4.08), layer=68, texttype=16))
sp6tarray_8x8.add(gdstk.Label('nwell', (1.94,0.51), layer=64, texttype=16))
sp6tarray_8x8.add(gdstk.Label('nwell', (5.82,0.51), layer=64, texttype=16))
sp6tarray_8x8.add(gdstk.Label('nwell', (9.7,0.51), layer=64, texttype=16))
sp6tarray_8x8.add(gdstk.Label('nwell', (13.58,0.51), layer=64, texttype=16))
sp6tarray_8x8.add(gdstk.Label('nwell', (17.46,0.51), layer=64, texttype=16))
sp6tarray_8x8.add(gdstk.Label('nwell', (21.34,0.51), layer=64, texttype=16))
sp6tarray_8x8.add(gdstk.Label('nwell', (25.22,0.51), layer=64, texttype=16))
sp6tarray_8x8.add(gdstk.Label('nwell', (29.1,0.51), layer=64, texttype=16))
sp6tarray_8x8.add(gdstk.Label('nwell', (1.94,1.53), layer=64, texttype=16))
sp6tarray_8x8.add(gdstk.Label('nwell', (5.82,1.53), layer=64, texttype=16))
sp6tarray_8x8.add(gdstk.Label('nwell', (9.7,1.53), layer=64, texttype=16))
sp6tarray_8x8.add(gdstk.Label('nwell', (13.58,1.53), layer=64, texttype=16))
sp6tarray_8x8.add(gdstk.Label('nwell', (17.46,1.53), layer=64, texttype=16))
sp6tarray_8x8.add(gdstk.Label('nwell', (21.34,1.53), layer=64, texttype=16))
sp6tarray_8x8.add(gdstk.Label('nwell', (25.22,1.53), layer=64, texttype=16))
sp6tarray_8x8.add(gdstk.Label('nwell', (29.1,1.53), layer=64, texttype=16))
sp6tarray_8x8.add(gdstk.Label('nwell', (1.94,2.55), layer=64, texttype=16))
sp6tarray_8x8.add(gdstk.Label('nwell', (5.82,2.55), layer=64, texttype=16))
sp6tarray_8x8.add(gdstk.Label('nwell', (9.7,2.55), layer=64, texttype=16))
sp6tarray_8x8.add(gdstk.Label('nwell', (13.58,2.55), layer=64, texttype=16))
sp6tarray_8x8.add(gdstk.Label('nwell', (17.46,2.55), layer=64, texttype=16))
sp6tarray_8x8.add(gdstk.Label('nwell', (21.34,2.55), layer=64, texttype=16))
sp6tarray_8x8.add(gdstk.Label('nwell', (25.22,2.55), layer=64, texttype=16))
sp6tarray_8x8.add(gdstk.Label('nwell', (29.1,2.55), layer=64, texttype=16))
sp6tarray_8x8.add(gdstk.Label('nwell', (1.94,3.57), layer=64, texttype=16))
sp6tarray_8x8.add(gdstk.Label('nwell', (5.82,3.57), layer=64, texttype=16))
sp6tarray_8x8.add(gdstk.Label('nwell', (9.7,3.57), layer=64, texttype=16))
sp6tarray_8x8.add(gdstk.Label('nwell', (13.58,3.57), layer=64, texttype=16))
sp6tarray_8x8.add(gdstk.Label('nwell', (17.46,3.57), layer=64, texttype=16))
sp6tarray_8x8.add(gdstk.Label('nwell', (21.34,3.57), layer=64, texttype=16))
sp6tarray_8x8.add(gdstk.Label('nwell', (25.22,3.57), layer=64, texttype=16))
sp6tarray_8x8.add(gdstk.Label('nwell', (29.1,3.57), layer=64, texttype=16))
sp6tarray_8x8.add(gdstk.Label('nwell', (1.94,4.59), layer=64, texttype=16))
sp6tarray_8x8.add(gdstk.Label('nwell', (5.82,4.59), layer=64, texttype=16))
sp6tarray_8x8.add(gdstk.Label('nwell', (9.7,4.59), layer=64, texttype=16))
sp6tarray_8x8.add(gdstk.Label('nwell', (13.58,4.59), layer=64, texttype=16))
sp6tarray_8x8.add(gdstk.Label('nwell', (17.46,4.59), layer=64, texttype=16))
sp6tarray_8x8.add(gdstk.Label('nwell', (21.34,4.59), layer=64, texttype=16))
sp6tarray_8x8.add(gdstk.Label('nwell', (25.22,4.59), layer=64, texttype=16))
sp6tarray_8x8.add(gdstk.Label('nwell', (29.1,4.59), layer=64, texttype=16))
sp6tarray_8x8.add(gdstk.Label('nwell', (1.94,5.61), layer=64, texttype=16))
sp6tarray_8x8.add(gdstk.Label('nwell', (5.82,5.61), layer=64, texttype=16))
sp6tarray_8x8.add(gdstk.Label('nwell', (9.7,5.61), layer=64, texttype=16))
sp6tarray_8x8.add(gdstk.Label('nwell', (13.58,5.61), layer=64, texttype=16))
sp6tarray_8x8.add(gdstk.Label('nwell', (17.46,5.61), layer=64, texttype=16))
sp6tarray_8x8.add(gdstk.Label('nwell', (21.34,5.61), layer=64, texttype=16))
sp6tarray_8x8.add(gdstk.Label('nwell', (25.22,5.61), layer=64, texttype=16))
sp6tarray_8x8.add(gdstk.Label('nwell', (29.1,5.61), layer=64, texttype=16))
sp6tarray_8x8.add(gdstk.Label('nwell', (1.94,6.63), layer=64, texttype=16))
sp6tarray_8x8.add(gdstk.Label('nwell', (5.82,6.63), layer=64, texttype=16))
sp6tarray_8x8.add(gdstk.Label('nwell', (9.7,6.63), layer=64, texttype=16))
sp6tarray_8x8.add(gdstk.Label('nwell', (13.58,6.63), layer=64, texttype=16))
sp6tarray_8x8.add(gdstk.Label('nwell', (17.46,6.63), layer=64, texttype=16))
sp6tarray_8x8.add(gdstk.Label('nwell', (21.34,6.63), layer=64, texttype=16))
sp6tarray_8x8.add(gdstk.Label('nwell', (25.22,6.63), layer=64, texttype=16))
sp6tarray_8x8.add(gdstk.Label('nwell', (29.1,6.63), layer=64, texttype=16))
sp6tarray_8x8.add(gdstk.Label('nwell', (1.94,7.65), layer=64, texttype=16))
sp6tarray_8x8.add(gdstk.Label('nwell', (5.82,7.65), layer=64, texttype=16))
sp6tarray_8x8.add(gdstk.Label('nwell', (9.7,7.65), layer=64, texttype=16))
sp6tarray_8x8.add(gdstk.Label('nwell', (13.58,7.65), layer=64, texttype=16))
sp6tarray_8x8.add(gdstk.Label('nwell', (17.46,7.65), layer=64, texttype=16))
sp6tarray_8x8.add(gdstk.Label('nwell', (21.34,7.65), layer=64, texttype=16))
sp6tarray_8x8.add(gdstk.Label('nwell', (25.22,7.65), layer=64, texttype=16))
sp6tarray_8x8.add(gdstk.Label('nwell', (29.1,7.65), layer=64, texttype=16))

lib.write_gds('SP6TArray_8X8.gds')
